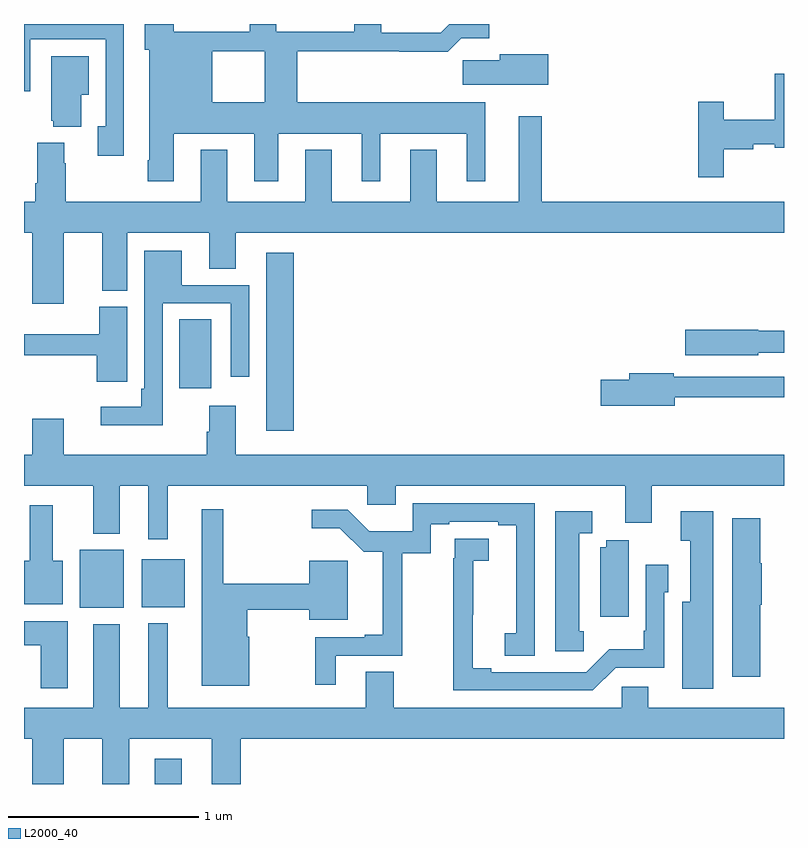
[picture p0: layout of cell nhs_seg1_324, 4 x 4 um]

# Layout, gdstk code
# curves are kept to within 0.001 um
import gdstk
lib = gdstk.Library(unit=1e-6, precision=1e-09)
def R(c, l, rs):  # rectangles x0, y0, x1, y1
    for r in rs: c.add(gdstk.rectangle(r[:2], r[2:], *l))
def P(c, l, *ps):  # polygons
    for p in ps: c.add(gdstk.Polygon(p, *l))
L2000_40 = (2000, 40)

nhs_seg1_324 = lib.new_cell('nhs_seg1_324')
R(nhs_seg1_324, L2000_40, [(129.689,514.199,129.829,514.333), (129.293,515.126,129.526,515.431), (129.62,515.129,129.847,515.383), (130.274,516.057,130.421,516.996), (129.818,516.282,129.985,516.644)])
P(nhs_seg1_324, L2000_40, [(129.526,517.964),(129.525,517.964),(129.525,518.199),(129,518.199),(129,517.845),(129.033,517.845),(129.033,518.118),(129.429,518.118),(129.429,517.662),(129.389,517.662),(129.389,517.506),(129.526,517.506)],
  [(129.652,517.483),(129.652,517.371),(129.787,517.371),(129.787,517.622),(130.211,517.622),(130.211,517.371),(130.339,517.371),(130.339,517.622),(130.778,517.622),(130.778,517.371),(130.876,517.371),(130.876,517.622),(131.33,517.622),(131.33,517.371),(131.428,517.371),(131.428,517.786),(130.439,517.786),(130.439,518.056),(130.975,518.056),(130.975,518.054),(131.231,518.054),(131.3,518.123),(131.449,518.123),(131.449,518.199),(131.238,518.199),(131.193,518.154),(130.879,518.154),(130.879,518.199),(130.739,518.199),(130.739,518.157),(130.327,518.157),(130.327,518.199),(130.187,518.199),(130.187,518.157),(129.787,518.157),(129.787,518.199),(129.635,518.199),(129.635,518.064),(129.659,518.064),(129.659,517.786),(129.991,517.786),(129.991,518.056),(130.268,518.056),(130.268,517.786),(129.659,517.786),(129.659,517.483)],
  [(131.758,518.041),(131.504,518.041),(131.504,518.009),(131.31,518.009),(131.31,517.88),(131.758,517.88)],
  [(129.301,517.826),(129.34,517.826),(129.34,518.029),(129.143,518.029),(129.143,517.689),(129.155,517.689),(129.155,517.658),(129.301,517.658)],
  [(132.682,517.541),(132.838,517.541),(132.838,517.566),(132.95,517.566),(132.95,517.547),(133,517.547),(133,517.936),(132.95,517.936),(132.95,517.694),(132.682,517.694),(132.682,517.789),(132.548,517.789),(132.548,517.392),(132.682,517.392)],
  [(133,517.264),(131.725,517.264),(131.725,517.714),(131.603,517.714),(131.603,517.264),(131.173,517.264),(131.173,517.537),(131.033,517.537),(131.033,517.264),(130.621,517.264),(130.621,517.537),(130.481,517.537),(130.481,517.264),(130.069,517.264),(130.069,517.537),(129.929,517.537),(129.929,517.264),(129.219,517.264),(129.219,517.466),(129.211,517.466),(129.211,517.573),(129.071,517.573),(129.071,517.36),(129.059,517.36),(129.059,517.264),(129,517.264),(129,517.1),(129.044,517.1),(129.044,516.726),(129.208,516.726),(129.208,517.1),(129.413,517.1),(129.413,516.796),(129.544,516.796),(129.544,517.1),(129.974,517.1),(129.974,516.91),(130.114,516.91),(130.114,517.1),(133,517.1)],
  [(129.729,516.729),(130.089,516.729),(130.089,516.342),(130.185,516.342),(130.185,516.825),(129.829,516.825),(129.829,517.006),(129.633,517.006),(129.633,516.28),(129.617,516.28),(129.617,516.184),(129.405,516.184),(129.405,516.086),(129.729,516.086)],
  [(129.543,516.427),(129.544,516.427),(129.544,516.711),(129.395,516.711),(129.395,516.565),(129,516.565),(129,516.456),(129.383,516.456),(129.383,516.315),(129.543,516.315)],
  [(132.864,516.468),(133,516.468),(133,516.584),(132.864,516.584),(132.864,516.59),(132.48,516.59),(132.48,516.455),(132.864,516.455)],
  [(132.424,516.234),(133,516.234),(133,516.342),(132.42,516.342),(132.42,516.362),(132.185,516.362),(132.185,516.326),(132.036,516.326),(132.036,516.191),(132.424,516.191)],
  [(129.757,515.768),(130.806,515.768),(130.806,515.67),(130.957,515.67),(130.957,515.768),(132.164,515.768),(132.164,515.574),(132.304,515.574),(132.304,515.768),(133,515.768),(133,515.932),(130.114,515.932),(130.114,516.19),(129.974,516.19),(129.974,516.053),(129.962,516.053),(129.962,515.932),(129.208,515.932),(129.208,516.121),(129.044,516.121),(129.044,515.932),(129,515.932),(129,515.768),(129.365,515.768),(129.365,515.516),(129.505,515.516),(129.505,515.768),(129.653,515.768),(129.653,515.487),(129.757,515.487)],
  [(130.642,514.875),(130.991,514.875),(130.991,515.413),(131.142,515.413),(131.142,515.566),(131.239,515.566),(131.239,515.58),(131.495,515.58),(131.495,515.56),(131.591,515.56),(131.59,514.993),(131.529,514.993),(131.529,514.873),(131.688,514.873),(131.688,515.676),(131.046,515.676),(131.046,515.53),(130.817,515.53),(130.704,515.643),(130.515,515.643),(130.515,515.546),(130.663,515.546),(130.789,515.421),(130.889,515.421),(130.889,514.984),(130.793,514.984),(130.793,514.971),(130.533,514.971),(130.533,514.722),(130.642,514.722)],
  [(129.205,515.374),(129.151,515.374),(129.151,515.665),(129.029,515.665),(129.029,515.374),(129,515.374),(129,515.144),(129.205,515.144)],
  [(130.186,514.974),(130.174,514.974),(130.174,515.116),(130.502,515.116),(130.502,515.063),(130.705,515.063),(130.705,515.373),(130.502,515.373),(130.502,515.252),(130.049,515.252),(130.049,515.644),(129.935,515.644),(129.935,514.715),(130.186,514.715)],
  [(132.628,515.635),(132.456,515.635),(132.456,515.479),(132.506,515.479),(132.506,515.158),(132.464,515.158),(132.464,514.701),(132.628,514.701)],
  [(131.945,515.004),(131.923,515.004),(131.923,515.52),(131.992,515.52),(131.992,515.635),(131.795,515.635),(131.795,514.899),(131.945,514.899)],
  [(132.874,515.143),(132.882,515.143),(132.882,515.36),(132.874,515.36),(132.874,515.599),(132.728,515.599),(132.728,514.764),(132.874,514.764)],
  [(132.114,514.812),(132.369,514.812),(132.369,515.208),(132.39,515.208),(132.39,515.353),(132.273,515.353),(132.273,515.005),(132.261,515.005),(132.261,514.909),(132.079,514.909),(131.958,514.788),(131.458,514.788),(131.458,514.808),(131.362,514.808),(131.364,515.374),(131.446,515.374),(131.446,515.489),(131.266,515.489),(131.266,515.387),(131.26,515.387),(131.26,514.692),(131.994,514.692)],
  [(132.184,515.483),(132.064,515.483),(132.064,515.446),(132.032,515.446),(132.032,515.079),(132.184,515.079)],
  [(129.229,515.056),(129,515.056),(129,514.928),(129.089,514.928),(129.089,514.704),(129.229,514.704)],
  [(129.208,514.436),(129.413,514.436),(129.413,514.199),(129.553,514.199),(129.553,514.436),(129.989,514.436),(129.989,514.199),(130.142,514.199),(130.142,514.436),(133,514.436),(133,514.6),(132.286,514.6),(132.286,514.71),(132.147,514.71),(132.147,514.6),(130.947,514.6),(130.947,514.79),(130.799,514.79),(130.799,514.6),(129.757,514.6),(129.757,515.044),(129.653,515.044),(129.653,514.6),(129.505,514.6),(129.505,515.041),(129.365,515.041),(129.365,514.6),(129,514.6),(129,514.436),(129.044,514.436),(129.044,514.199),(129.208,514.199)])

lib.write_gds('nhs_seg1_324.gds')
